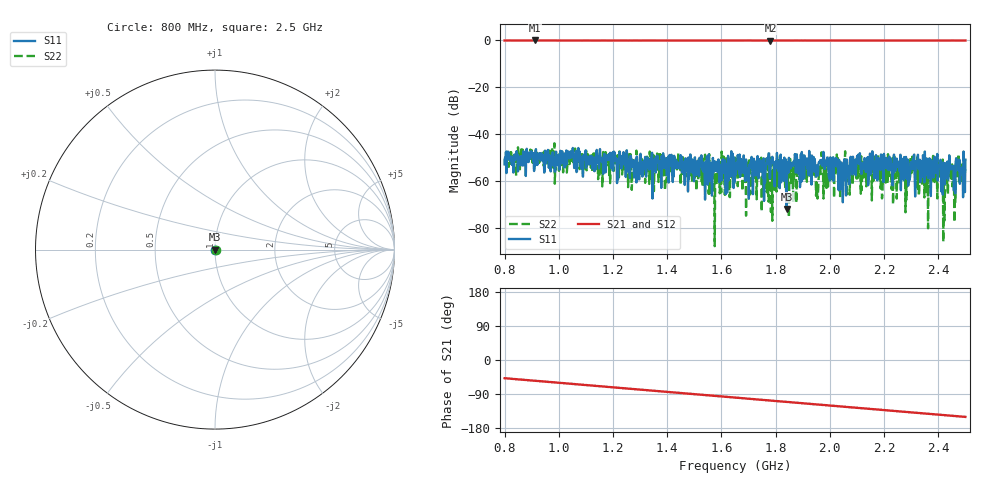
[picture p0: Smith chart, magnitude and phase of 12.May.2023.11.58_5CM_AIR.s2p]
!Keysight Technologies N9950B: A.12.38
!Date: Friday, 12 May 2023 12:02:31
!Timezone: (UTC-06:00) Central Time (US & Canada)
!Model: N9950B
!Serial: MY61131330
!GPS Latitude:
!GPS Longitude:
!GPS TimeStamp: 0001-01-01 00:00:00Z
!GPS Seconds Since Last Read: 0
!CHECKSUM:0781336921
!Correction: S11(ON U)S21(ON U)S12(ON U)S22(ON U)
!S2P File: Measurements:S11,S21,S12,S22:
# Hz S DB R 50
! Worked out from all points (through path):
!   1001 points, 800 MHz to 2.5 GHz, reference 50 ohm
!   highest |S21| = 0.00 dB at 910.5 MHz (marker M1); lowest = -0.1 dB at 1.781 GHz (marker M2)
!   group delay of S21, straight-line fit = 167 ps
!   lowest |S11| = -71.7 dB at 1.84 GHz (marker M3), VSWR 1.00, Z = 50 - j0.00188 ohm
!   |S11| at or under -10 dB: start of sweep to end of sweep
!   |S22| runs from -87.6 to -43.8 dB; largest |S21 - S12| = 0.0057
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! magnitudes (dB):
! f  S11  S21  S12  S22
! 800 MHz  -52.8  0.0  0.0  -50.4
! 910.5 MHz  -49.5  0.0  0.0  -52.0
! 1.084 GHz  -54.6  0.0  0.0  -53.7
! 1.368 GHz  -52.1  0.0  0.0  -60.3
! 1.57 GHz  -53.5  0.0  0.0  -56.2
! 1.65 GHz  -55.6  0.0  0.0  -54.7
! 1.781 GHz  -54.0  -0.1  0.0  -50.0
! 1.817 GHz  -54.2  0.0  0.0  -55.7
! 1.84 GHz  -71.7  0.0  0.0  -56.6
! 1.934 GHz  -49.0  0.0  0.0  -57.5
! 1.953 GHz  -56.4  0.0  0.0  -64.8
! 1.966 GHz  -51.6  0.0  0.0  -56.9
! 1.985 GHz  -53.1  0.0  0.0  -52.3
! 2.053 GHz  -50.6  0.0  0.0  -51.2
! 2.106 GHz  -52.5  0.0  0.0  -56.4
! 2.218 GHz  -50.7  0.0  0.0  -53.1
! 2.304 GHz  -54.8  0.0  0.0  -49.5
! 2.354 GHz  -52.0  0.0  0.0  -56.0
! 2.384 GHz  -53.0  0.0  0.0  -58.1
! 2.427 GHz  -58.6  0.0  0.0  -53.0
! 2.434 GHz  -51.6  0.0  0.0  -58.7
! 2.5 GHz  -50.8  0.0  0.0  -54.6
